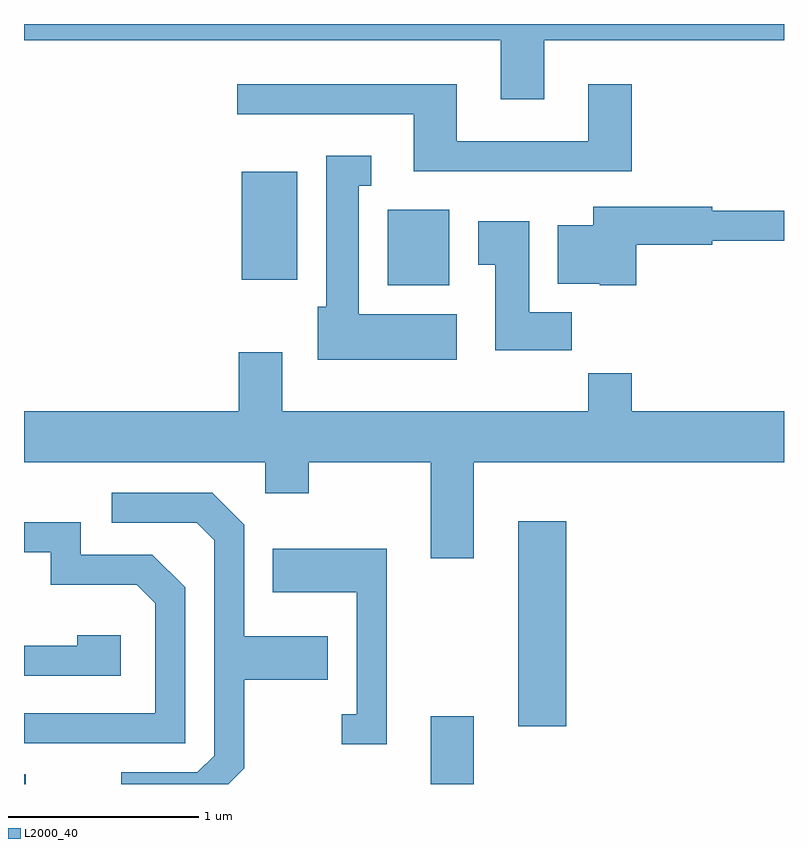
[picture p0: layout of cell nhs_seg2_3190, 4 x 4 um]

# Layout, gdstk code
import gdstk
lib = gdstk.Library(unit=1e-6, precision=1e-09)
def R(c, l, rs):  # rectangles x0, y0, x1, y1
    for r in rs: c.add(gdstk.rectangle(r[:2], r[2:], *l))
def P(c, l, *ps):  # polygons
    for p in ps: c.add(gdstk.Polygon(p, *l))
L2000_40 = (2000, 40)

nhs_seg2_3190 = lib.new_cell('nhs_seg2_3190')
R(nhs_seg2_3190, L2000_40, [(279.611,977.802,279.619,977.854), (281.751,977.802,281.979,978.159), (282.211,978.106,282.464,979.184), (281.526,980.426,281.849,980.824), (280.756,980.456,281.049,981.024)])
P(nhs_seg2_3190, L2000_40, [(282.349,981.716),(283.611,981.716),(283.611,981.802),(279.611,981.802),(279.611,981.716),(282.121,981.716),(282.121,981.406),(282.349,981.406)],
  [(282.809,981.484),(282.581,981.484),(282.581,981.184),(281.889,981.184),(281.889,981.484),(280.733,981.484),(280.733,981.326),(281.661,981.326),(281.661,981.026),(282.809,981.026)],
  [(281.889,980.274),(281.374,980.274),(281.374,980.951),(281.438,980.951),(281.438,981.109),(281.201,981.109),(281.201,980.314),(281.156,980.314),(281.156,980.036),(281.889,980.036)],
  [(282.834,980.641),(283.234,980.641),(283.234,980.661),(283.611,980.661),(283.611,980.819),(283.234,980.819),(283.234,980.839),(282.606,980.839),(282.606,980.744),(282.421,980.744),(282.421,980.436),(282.64,980.436),(282.64,980.426),(282.834,980.426)],
  [(282.494,980.284),(282.269,980.284),(282.269,980.764),(282.001,980.764),(282.001,980.536),(282.091,980.536),(282.091,980.086),(282.494,980.086)],
  [(281.979,979.496),(283.611,979.496),(283.611,979.764),(282.809,979.764),(282.809,979.964),(282.581,979.964),(282.581,979.764),(280.969,979.764),(280.969,980.074),(280.741,980.074),(280.741,979.764),(279.611,979.764),(279.611,979.496),(280.881,979.496),(280.881,979.331),(281.109,979.331),(281.109,979.496),(281.751,979.496),(281.751,978.991),(281.979,978.991)],
  [(280.769,977.884),(280.769,978.351),(281.209,978.351),(281.209,978.579),(280.769,978.579),(280.769,979.167),(280.602,979.334),(280.073,979.334),(280.073,979.176),(280.519,979.176),(280.611,979.084),(280.611,977.952),(280.524,977.864),(280.123,977.864),(280.123,977.802),(280.687,977.802)],
  [(280.459,978.837),(280.287,979.009),(279.909,979.009),(279.909,979.179),(279.611,979.179),(279.611,979.021),(279.751,979.021),(279.751,978.851),(280.204,978.851),(280.301,978.754),(280.301,978.174),(279.611,978.174),(279.611,978.016),(280.459,978.016)],
  [(281.519,979.039),(280.921,979.039),(280.921,978.811),(281.361,978.811),(281.361,978.169),(281.283,978.169),(281.283,978.011),(281.519,978.011)],
  [(280.119,978.584),(279.891,978.584),(279.891,978.529),(279.611,978.529),(279.611,978.371),(280.119,978.371)])

lib.write_gds('nhs_seg2_3190.gds')
